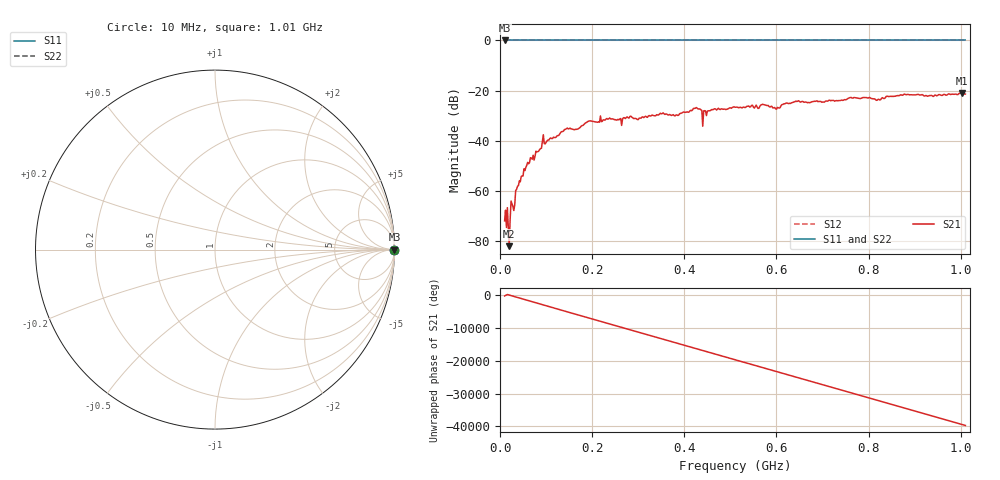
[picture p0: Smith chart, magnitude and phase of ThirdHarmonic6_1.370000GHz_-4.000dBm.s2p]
! 8/16/2025 3:30:41 PM
! C:\ANRITSUVNA\TEMP\TEMP.S2P
! CHANNEL.1
! TR.MEASUREMENT
! RAW.DATA
! RF.CORRECTION.OFF
! AVERAGING.OFF
! IF.BANDWIDTH: 5KHZ
! SWEEPTYPE:  FREQ.SWEEP(Linear)
! Reference Plane Port Info
! PORT:  PORT1  PORT2
! DISTANCE:  0  m  0  m
! TIME:  0  s  0  s
! PHASE.OFFSET:  0  deg.  0  deg.
! LOSS:  0  dB  0  dB
! REF.LOSS:  0  dB  0  dB
! REF.FREQ:  0  Hz  0  Hz
! Power Info
! POWER:  -20  dBm  -20  dBm
! EFF.POWER:  -20  dBm  -20  dBm
! SOURCE.ATTEN:  0  dB  0  dB
! TEST.ATTEN:  0  dB  0  dB
# GHZ S RI R 50.0
! FREQ.GHZ  S11RE  S11IM  S21RE  S21IM  S12RE  S12IM  S22RE  S22IM
!; PortSelection: Port_12
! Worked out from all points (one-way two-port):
!   501 points, 10 MHz to 1.01 GHz, reference 50 ohm
!   highest |S21| = -21.00 dB at 1.002 GHz (marker M1); lowest = -82.2 dB at 20 MHz (marker M2)
!   lowest |S11| = 0.0 dB at 10 MHz (marker M3)
!   |S11| at or under -10 dB: nowhere
!   |S22| runs from 0.0 to 0.0 dB; largest |S21 - S12| = 1.1
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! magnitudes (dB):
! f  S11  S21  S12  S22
! 10 MHz  0.0  -72.1  0.0  0.0
! 12 MHz  0.0  -67.8  0.0  0.0
! 18 MHz  0.0  -74.5  0.0  0.0
! 20 MHz  0.0  -82.2  0.0  0.0
! 38 MHz  0.0  -58.2  0.0  0.0
! 56 MHz  0.0  -50.7  0.0  0.0
! 92 MHz  0.0  -40.2  0.0  0.0
! 144 MHz  0.0  -35.3  0.0  0.0
! 178 MHz  0.0  -34.0  0.0  0.0
! 194 MHz  0.0  -32.1  0.0  0.0
! 344 MHz  0.0  -29.8  0.0  0.0
! 384 MHz  0.0  -29.7  0.0  0.0
! 424 MHz  0.0  -27.1  0.0  0.0
! 444 MHz  0.0  -28.1  0.0  0.0
! 462 MHz  0.0  -27.7  0.0  0.0
! 510 MHz  0.0  -26.7  0.0  0.0
! 602 MHz  0.0  -26.8  0.0  0.0
! 644 MHz  0.0  -24.4  0.0  0.0
! 678 MHz  0.0  -24.5  0.0  0.0
! 844 MHz  0.0  -22.4  0.0  0.0
! 1.002 GHz  0.0  -21.0  0.0  0.0
! 1.01 GHz  0.0  -21.4  0.0  0.0
